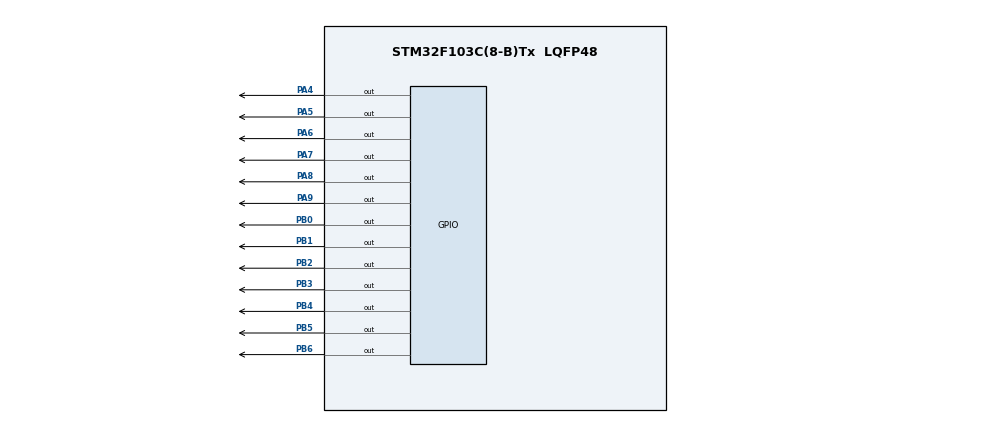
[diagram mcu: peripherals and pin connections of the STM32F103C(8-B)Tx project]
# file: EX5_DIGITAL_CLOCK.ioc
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Mcu.Family=STM32F1
Mcu.Name=STM32F103C(8-B)Tx
Mcu.Package=LQFP48
NVIC.PriorityGroup=NVIC_PRIORITYGROUP_4
NVIC.TIM2_IRQn=true\:0\:0\:false\:false\:true\:true\:true\:true
PA13.Mode=Serial_Wire
PA13.Signal=SYS_JTMS-SWDIO
PA14.Mode=Serial_Wire
PA14.Signal=SYS_JTCK-SWCLK
PA4.Signal=GPIO_Output
PA5.Signal=GPIO_Output
PA6.Signal=GPIO_Output
PA7.Signal=GPIO_Output
PA8.Signal=GPIO_Output
PA9.Signal=GPIO_Output
PB0.Signal=GPIO_Output
PB1.Signal=GPIO_Output
PB2.Signal=GPIO_Output
PB3.Signal=GPIO_Output
PB4.Signal=GPIO_Output
PB5.Signal=GPIO_Output
PB6.Signal=GPIO_Output
ProjectManager.HeapSize=0x200
ProjectManager.StackSize=0x400
ProjectManager.TargetToolchain=MDK-ARM V5.32
RCC.APB1Freq_Value=8000000
RCC.APB2Freq_Value=8000000
TIM2.Period=9
TIM2.Prescaler=7999
VP_TIM2_VS_ClockSourceINT.Mode=Internal
board=custom

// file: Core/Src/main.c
/* USER CODE BEGIN Header */
/**
  ******************************************************************************
  * @file           : main.c
  * @brief          : Main program body
  ******************************************************************************
  * @attention
  *
  * Copyright (c) 2026 STMicroelectronics.
  * All rights reserved.
  *
  * This software is licensed under terms that can be found in the LICENSE file
  * in the root directory of this software component.
  * If no LICENSE file comes with this software, it is provided AS-IS.
  *
  ******************************************************************************
  */
/* USER CODE END Header */
#include "main.h"

/* USER CODE BEGIN Includes */
#define LED_A GPIO_PIN_0
#define LED_B GPIO_PIN_1
#define LED_C GPIO_PIN_2
#define LED_D GPIO_PIN_3
#define LED_E GPIO_PIN_4
#define LED_F GPIO_PIN_5
#define LED_G GPIO_PIN_6

#define ALL_LEDS (LED_A | LED_B | LED_C | LED_D | \
                  LED_E | LED_F | LED_G)

#define EN0 GPIO_PIN_6
#define EN1 GPIO_PIN_7
#define EN2 GPIO_PIN_8
#define EN3 GPIO_PIN_9

#define ALL_EN (EN0 | EN1 | EN2 | EN3)
#define DOT_PIN GPIO_PIN_4

#define MAX_LED     4
#define TIMER_CYCLE 10
/* USER CODE END Includes */

/* USER CODE BEGIN PD */
int hour = 15;
int minute = 8;
int second = 50;

int led_buffer[MAX_LED] = {0, 0, 0, 0};
int index_led = 0;

int timer0_counter = 0;
int timer0_flag = 0;

int timer1_counter = 0;
int timer1_flag = 0;

/* USER CODE END PD */

TIM_HandleTypeDef htim2;

void SystemClock_Config(void);
static void MX_GPIO_Init(void);
static void MX_TIM2_Init(void);

/* USER CODE BEGIN 0 */
void display7SEG(int num)
{
    static const uint16_t digit[10] =
    {
        LED_A | LED_B | LED_C | LED_D | LED_E | LED_F,         // 0
        LED_B | LED_C,                                         // 1
        LED_A | LED_B | LED_D | LED_E | LED_G,                 // 2
        LED_A | LED_B | LED_C | LED_D | LED_G,                 // 3
        LED_B | LED_C | LED_F | LED_G,                         // 4
        LED_A | LED_C | LED_D | LED_F | LED_G,                 // 5
        LED_A | LED_C | LED_D | LED_E | LED_F | LED_G,         // 6
        LED_A | LED_B | LED_C,                                 // 7
        LED_A | LED_B | LED_C | LED_D | LED_E | LED_F | LED_G, // 8
        LED_A | LED_B | LED_C | LED_D | LED_F | LED_G          // 9
    };

    // Anode chung: HIGH tat, LOW sang
    HAL_GPIO_WritePin(GPIOB, ALL_LEDS, GPIO_PIN_SET);

    if (num >= 0 && num <= 9)
    {
        HAL_GPIO_WritePin(GPIOB, digit[num], GPIO_PIN_RESET);
    }
}

void disable7SEG(void)
{
    HAL_GPIO_WritePin(GPIOA, ALL_EN, GPIO_PIN_SET);
}

void update7SEG(int index)
{
    // Tat tat ca LED truoc khi doi so
    disable7SEG();

    switch (index)
    {
        case 0:
            display7SEG(led_buffer[0]);
            HAL_GPIO_WritePin(GPIOA, EN0, GPIO_PIN_RESET);
            break;

        case 1:
            display7SEG(led_buffer[1]);
            HAL_GPIO_WritePin(GPIOA, EN1, GPIO_PIN_RESET);
            break;

        case 2:
            display7SEG(led_buffer[2]);
            HAL_GPIO_WritePin(GPIOA, EN2, GPIO_PIN_RESET);
            break;

        case 3:
            display7SEG(led_buffer[3]);
            HAL_GPIO_WritePin(GPIOA, EN3, GPIO_PIN_RESET);
            break;

        default:
            break;
    }
}

// Tach gio va phut thanh 4 chu so
void updateClockBuffer(void)
{
    led_buffer[0] = hour / 10;
    led_buffer[1] = hour % 10;

    led_buffer[2] = minute / 10;
    led_buffer[3] = minute % 10;
}

void setTimer0(int duration)
{
    timer0_counter = duration / TIMER_CYCLE;
    timer0_flag = 0;
}

void setTimer1(int duration)
{
    timer1_counter = duration / TIMER_CYCLE;
    timer1_flag = 0;
}

void timer_run(void)
{
    if (timer0_counter > 0)
    {
        timer0_counter--;

        if (timer0_counter == 0)
        {
            timer0_flag = 1;
        }
    }

    if (timer1_counter > 0)
    {
        timer1_counter--;

        if (timer1_counter == 0)
        {
            timer1_flag = 1;
        }
    }
}

void HAL_TIM_PeriodElapsedCallback(TIM_HandleTypeDef *htim)
{
    if (htim->Instance == TIM2)
    {

        timer_run();

        if (timer0_flag == 1)
        {
            HAL_GPIO_TogglePin(GPIOA, DOT_PIN);
            setTimer0(1000);
        }

        if (timer1_flag == 1)
        {
            update7SEG(index_led);

            index_led++;
            if (index_led >= MAX_LED)
            {
                index_led = 0;
            }

            setTimer1(250);
        }
    }
}
/* USER CODE END 0 */

int main(void)
{

  /* MCU Configuration--------------------------------------------------------*/

  /* Reset of all peripherals, Initializes the Flash interface and the Systick. */
  HAL_Init();

  /* Configure the system clock */
  SystemClock_Config();

  /* Initialize all configured peripherals */
  MX_GPIO_Init();
  MX_TIM2_Init();
  /* USER CODE BEGIN 2 */

	HAL_GPIO_WritePin(GPIOA, ALL_EN, GPIO_PIN_SET);

	updateClockBuffer();

  update7SEG(0);
  index_led = 1;

  setTimer0(1000);
  setTimer1(250);

  HAL_TIM_Base_Start_IT(&htim2);
  /* USER CODE END 2 */

  /* Infinite loop */
  while (1)
  {

		 HAL_Delay(1000);

        second++;

        if (second >= 60)
        {
            second = 0;
            minute++;
        }

        if (minute >= 60)
        {
            minute = 0;
            hour++;
        }

        if (hour >= 24)
        {
            hour = 0;
        }

        updateClockBuffer();
  }
}

void SystemClock_Config(void)
{
  RCC_OscInitTypeDef RCC_OscInitStruct = {0};
  RCC_ClkInitTypeDef RCC_ClkInitStruct = {0};

  /** Initializes the RCC Oscillators according to the specified parameters
  * in the RCC_OscInitTypeDef structure.
  */
  RCC_OscInitStruct.OscillatorType = RCC_OSCILLATORTYPE_HSI;
  RCC_OscInitStruct.HSIState = RCC_HSI_ON;
  RCC_OscInitStruct.HSICalibrationValue = RCC_HSICALIBRATION_DEFAULT;
  RCC_OscInitStruct.PLL.PLLState = RCC_PLL_NONE;
  if (HAL_RCC_OscConfig(&RCC_OscInitStruct) != HAL_OK)
  {
    Error_Handler();
  }

  /** Initializes the CPU, AHB and APB buses clocks
  */
  RCC_ClkInitStruct.ClockType = RCC_CLOCKTYPE_HCLK|RCC_CLOCKTYPE_SYSCLK
                              |RCC_CLOCKTYPE_PCLK1|RCC_CLOCKTYPE_PCLK2;
  RCC_ClkInitStruct.SYSCLKSource = RCC_SYSCLKSOURCE_HSI;
  RCC_ClkInitStruct.AHBCLKDivider = RCC_SYSCLK_DIV1;
  RCC_ClkInitStruct.APB1CLKDivider = RCC_HCLK_DIV1;
  RCC_ClkInitStruct.APB2CLKDivider = RCC_HCLK_DIV1;

  if (HAL_RCC_ClockConfig(&RCC_ClkInitStruct, FLASH_LATENCY_0) != HAL_OK)
  {
    Error_Handler();
  }
}

static void MX_TIM2_Init(void)
{

  TIM_ClockConfigTypeDef sClockSourceConfig = {0};
  TIM_MasterConfigTypeDef sMasterConfig = {0};

  htim2.Instance = TIM2;
  htim2.Init.Prescaler = 7999;
  htim2.Init.CounterMode = TIM_COUNTERMODE_UP;
  htim2.Init.Period = 9;
  htim2.Init.ClockDivision = TIM_CLOCKDIVISION_DIV1;
  htim2.Init.AutoReloadPreload = TIM_AUTORELOAD_PRELOAD_DISABLE;
  if (HAL_TIM_Base_Init(&htim2) != HAL_OK)
  {
    Error_Handler();
  }
  sClockSourceConfig.ClockSource = TIM_CLOCKSOURCE_INTERNAL;
  if (HAL_TIM_ConfigClockSource(&htim2, &sClockSourceConfig) != HAL_OK)
  {
    Error_Handler();
  }
  sMasterConfig.MasterOutputTrigger = TIM_TRGO_RESET;
  sMasterConfig.MasterSlaveMode = TIM_MASTERSLAVEMODE_DISABLE;
  if (HAL_TIMEx_MasterConfigSynchronization(&htim2, &sMasterConfig) != HAL_OK)
  {
    Error_Handler();
  }

}

static void MX_GPIO_Init(void)
{
  GPIO_InitTypeDef GPIO_InitStruct = {0};

  /* GPIO Ports Clock Enable */
  __HAL_RCC_GPIOA_CLK_ENABLE();
  __HAL_RCC_GPIOB_CLK_ENABLE();

  /*Configure GPIO pin Output Level */
  HAL_GPIO_WritePin(GPIOA, GPIO_PIN_4|GPIO_PIN_5|GPIO_PIN_6|GPIO_PIN_7
                          |GPIO_PIN_8|GPIO_PIN_9, GPIO_PIN_RESET);

  /*Configure GPIO pin Output Level */
  HAL_GPIO_WritePin(GPIOB, GPIO_PIN_0|GPIO_PIN_1|GPIO_PIN_2|GPIO_PIN_3
                          |GPIO_PIN_4|GPIO_PIN_5|GPIO_PIN_6, GPIO_PIN_RESET);

  /*Configure GPIO pins : PA4 PA5 PA6 PA7
                           PA8 PA9 */
  GPIO_InitStruct.Pin = GPIO_PIN_4|GPIO_PIN_5|GPIO_PIN_6|GPIO_PIN_7
                          |GPIO_PIN_8|GPIO_PIN_9;
  GPIO_InitStruct.Mode = GPIO_MODE_OUTPUT_PP;
  GPIO_InitStruct.Pull = GPIO_NOPULL;
  GPIO_InitStruct.Speed = GPIO_SPEED_FREQ_LOW;
  HAL_GPIO_Init(GPIOA, &GPIO_InitStruct);

  /*Configure GPIO pins : PB0 PB1 PB2 PB3
                           PB4 PB5 PB6 */
  GPIO_InitStruct.Pin = GPIO_PIN_0|GPIO_PIN_1|GPIO_PIN_2|GPIO_PIN_3
                          |GPIO_PIN_4|GPIO_PIN_5|GPIO_PIN_6;
  GPIO_InitStruct.Mode = GPIO_MODE_OUTPUT_PP;
  GPIO_InitStruct.Pull = GPIO_NOPULL;
  GPIO_InitStruct.Speed = GPIO_SPEED_FREQ_LOW;
  HAL_GPIO_Init(GPIOB, &GPIO_InitStruct);

}

void Error_Handler(void)
{
  __disable_irq();
  while (1)
  {
  }
}
